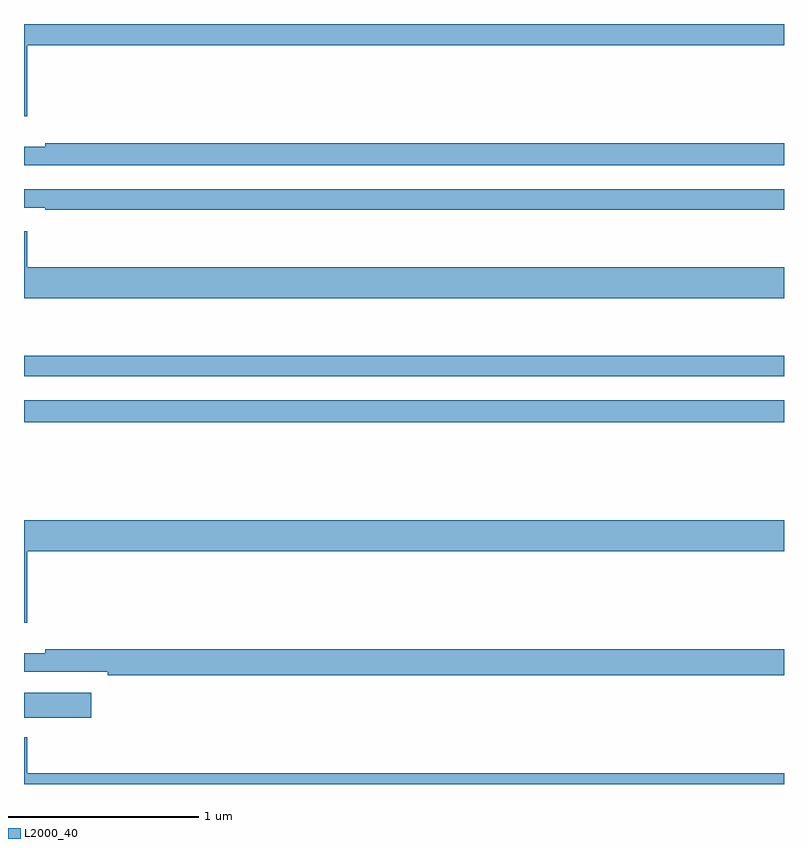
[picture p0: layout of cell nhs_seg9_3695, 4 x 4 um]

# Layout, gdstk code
import gdstk
lib = gdstk.Library(unit=1e-6, precision=1e-09)
def R(c, l, rs):  # rectangles x0, y0, x1, y1
    for r in rs: c.add(gdstk.rectangle(r[:2], r[2:], *l))
def P(c, l, *ps):  # polygons
    for p in ps: c.add(gdstk.Polygon(p, *l))
L2000_40 = (2000, 40)

nhs_seg9_3695 = lib.new_cell('nhs_seg9_3695')
R(nhs_seg9_3695, L2000_40, [(321,1224.85,321.355,1224.979), (321,1226.404,325,1226.52), (321,1226.646,325,1226.755)])
P(nhs_seg9_3695, L2000_40, [(321.016,1228.388),(325,1228.388),(325,1228.5),(321,1228.5),(321,1228.014),(321.016,1228.014)],
  [(325,1227.872),(321.112,1227.872),(321.112,1227.853),(321,1227.853),(321,1227.756),(325,1227.756)],
  [(325,1227.63),(321,1227.63),(321,1227.534),(321.112,1227.534),(321.112,1227.522),(325,1227.522)],
  [(325,1227.22),(321.016,1227.22),(321.016,1227.409),(321,1227.409),(321,1227.056),(325,1227.056)],
  [(321.016,1225.724),(325,1225.724),(325,1225.888),(321,1225.888),(321,1225.35),(321.016,1225.35)],
  [(325,1225.208),(321.112,1225.208),(321.112,1225.189),(321,1225.189),(321,1225.092),(321.442,1225.092),(321.442,1225.072),(325,1225.072)],
  [(325,1224.556),(321.016,1224.556),(321.016,1224.745),(321,1224.745),(321,1224.5),(325,1224.5)])

lib.write_gds('nhs_seg9_3695.gds')
